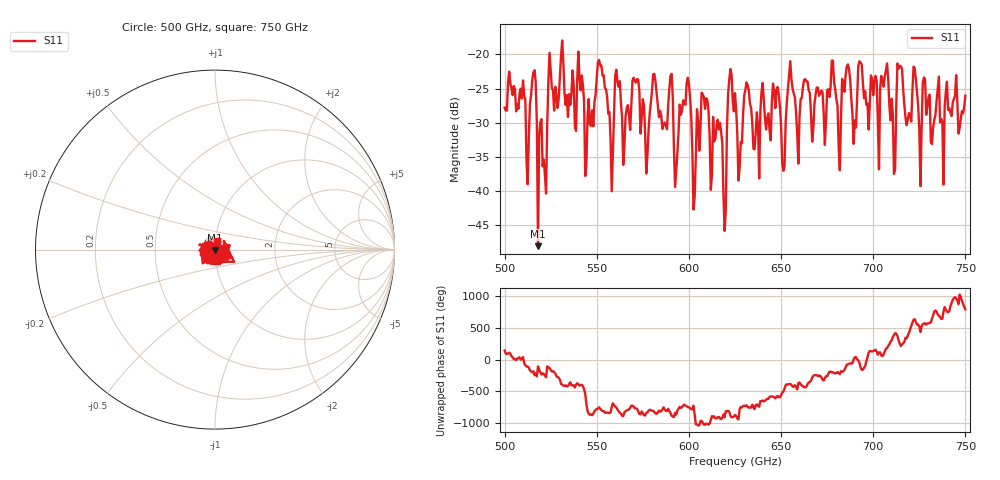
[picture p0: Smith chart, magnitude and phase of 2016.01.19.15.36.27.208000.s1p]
!Created with skrf (http://scikit-rf.org).
# GHz S RI R 50.0
!freq ReS11 ImS11
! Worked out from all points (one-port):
!   401 points, 500 GHz to 750 GHz, reference 50 ohm
!   lowest |S11| = -48.2 dB at 518.1 GHz (marker M1), VSWR 1.01, Z = 49.9 - j0.374 ohm
!   |S11| at or under -10 dB: start of sweep to end of sweep
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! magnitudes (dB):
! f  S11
! 500 GHz  -27.8
! 513.1 GHz  -32.3
! 515.6 GHz  -22.7
! 518.1 GHz  -48.2
! 531.2 GHz  -17.9
! 545 GHz  -29.2
! 551.2 GHz  -20.8
! 557.5 GHz  -32.7
! 562.5 GHz  -23.9
! 577.5 GHz  -34.7
! 590 GHz  -23.1
! 593.8 GHz  -34.5
! 599.4 GHz  -23.4
! 603.1 GHz  -40.9
! 608.1 GHz  -26.3
! 619.4 GHz  -45.9
! 621.9 GHz  -23.7
! 625 GHz  -25.7
! 627.5 GHz  -36.7
! 646.9 GHz  -27.9
! 651.2 GHz  -37.1
! 656.2 GHz  -25.0
! 687.5 GHz  -23.7
! 706.9 GHz  -22.4
! 710.6 GHz  -28.7
! 714.4 GHz  -21.7
! 718.8 GHz  -29.6
! 750 GHz  -26.1
